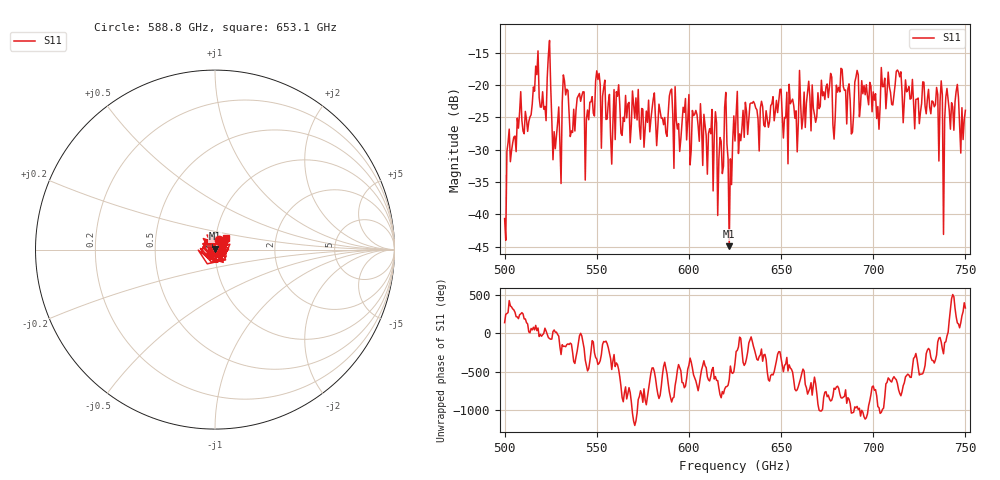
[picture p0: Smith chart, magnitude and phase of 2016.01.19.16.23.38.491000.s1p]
!Created with skrf (http://scikit-rf.org).
# GHz S RI R 50.0
!freq ReS11 ImS11
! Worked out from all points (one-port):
!   401 points, 500 GHz to 750 GHz, reference 50 ohm
!   lowest |S11| = -44.9 dB at 621.9 GHz (marker M1), VSWR 1.01, Z = 49.7 + j0.508 ohm
!   |S11| at or under -10 dB: start of sweep to end of sweep
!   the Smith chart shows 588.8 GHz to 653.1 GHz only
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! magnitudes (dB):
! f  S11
! 500 GHz  -40.6
! 502.5 GHz  -26.8
! 513.8 GHz  -24.9
! 516.9 GHz  -17.1
! 521.2 GHz  -23.7
! 524.4 GHz  -13.1
! 526.9 GHz  -27.2
! 531.2 GHz  -22.7
! 533.1 GHz  -21.5
! 536.9 GHz  -27.3
! 541.9 GHz  -21.7
! 545 GHz  -23.9
! 550.6 GHz  -19.1
! 558.8 GHz  -25.9
! 562.5 GHz  -23.1
! 593.8 GHz  -26.8
! 616.9 GHz  -28.1
! 620 GHz  -21.1
! 621.9 GHz  -44.9
! 625 GHz  -28.7
! 656.2 GHz  -22.2
! 682.5 GHz  -17.4
! 687.5 GHz  -22.4
! 718.8 GHz  -20.8
! 733.8 GHz  -23.0
! 736.9 GHz  -19.4
! 740 GHz  -20.5
! 750 GHz  -23.9
